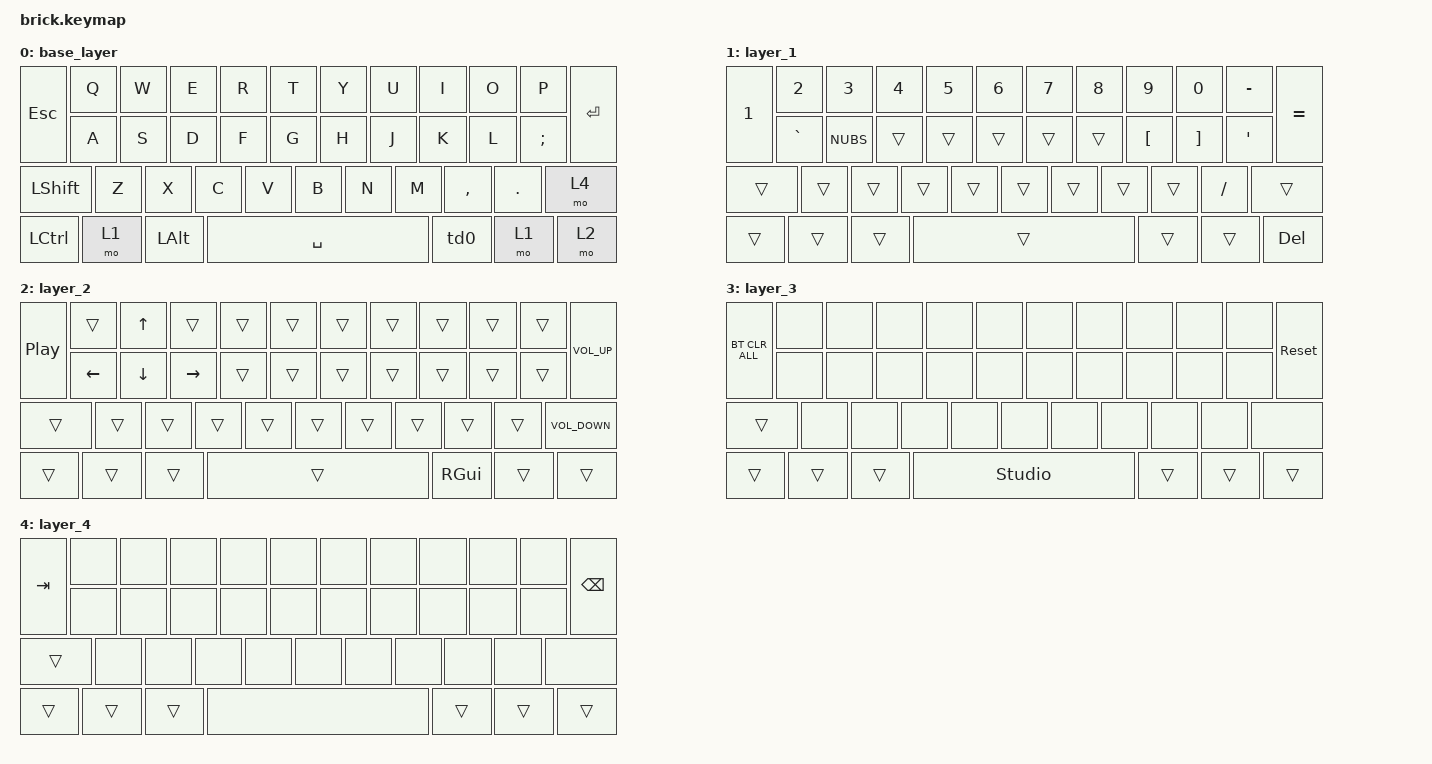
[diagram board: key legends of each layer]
#include <behaviors.dtsi>
#include <dt-bindings/zmk/keys.h>
#include <dt-bindings/zmk/bt.h>

/ {
behaviors {
        td0: tap_dance_0 {
            compatible = "zmk,behavior-tap-dance";
            #binding-cells = <0>;
            tapping-term-ms = <200>;
            bindings = <&kp RALT>, <&mo 3>;
        };
    };
   
    keymap {
        compatible = "zmk,keymap";
            
        base_layer {
            display-name = "base_layer";
            bindings = < 
                &kp ESC     &kp Q     &kp W     &kp E     &kp R     &kp T     &kp Y     &kp U     &kp I     &kp O     &kp P             &kp RET
                            &kp A     &kp S     &kp D     &kp F     &kp G     &kp H     &kp J     &kp K     &kp L     &kp SEMICOLON                  
                &kp LSHIFT     &kp Z     &kp X     &kp C     &kp V     &kp B     &kp N     &kp M     &kp COMMA     &kp PERIOD           &mo 4
                &kp LCTRL   &mo 1       &kp LALT                   &kp SPACE                                        &td0      &mo 1     &mo 2    
            >;
        }; 
        
        layer_1 {
            display-name = "layer_1";
            bindings = <
                &kp N1     &kp N2     &kp N3     &kp N4     &kp N5     &kp N6     &kp N7     &kp N8     &kp N9     &kp N0     &kp MINUS       &kp EQUAL
                           &kp GRAVE  &kp NUBS   &trans     &trans     &trans     &trans     &trans     &kp LEFT_BRACKET      &kp RIGHT_BRACKET   &kp SINGLE_QUOTE
                &trans        &trans     &trans     &trans     &trans     &trans     &trans     &trans     &trans     &kp SLASH     &trans
                &trans        &trans     &trans                     &trans                                           &trans    &trans      &kp DELETE
            >;
        };  
        
        layer_2 {
            display-name = "layer_2";
            bindings = <
                &kp C_PLAY_PAUSE     &trans     &kp UP_ARROW     &trans     &trans     &trans     &trans     &trans     &trans     &trans     &trans     &kp C_VOLUME_UP
                      &kp LEFT_ARROW     &kp DOWN_ARROW     &kp RIGHT_ARROW       &trans     &trans     &trans     &trans     &trans     &trans    &trans
                &trans        &trans         &trans          &trans         &trans     &trans     &trans     &trans     &trans     &trans      &kp C_VOLUME_DOWN
                &trans        &trans         &trans                 &trans                                           &kp RIGHT_GUI     &trans  &trans
            >;
        };

        layer_3 {
            display-name = "layer_3";
            bindings = <
                &bt BT_CLR_ALL    &none     &none     &none     &none     &none     &none     &none     &none     &none     &none     &sys_reset
                                  &none     &none     &none     &none     &none     &none     &none     &none     &none     &none       
                &trans         &none       &none       &none     &none     &none     &none     &none     &none     &none     &none
                &trans        &trans    &trans                          &studio_unlock                               &trans     &trans      &trans
            >;
        };

        layer_4 {
            display-name = "layer_4";
            bindings = <
                &kp TAB    &none     &none     &none     &none     &none     &none     &none     &none     &none     &none     &kp BACKSPACE
                                  &none     &none     &none     &none     &none     &none     &none     &none     &none     &none       
                &trans         &none       &none       &none     &none     &none     &none     &none     &none     &none     &none
                &trans        &trans    &trans                          &none                               &trans     &trans      &trans
            >;
        };
        
        extra_layer_5 {
            status = "reserved";
        };

    };
};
